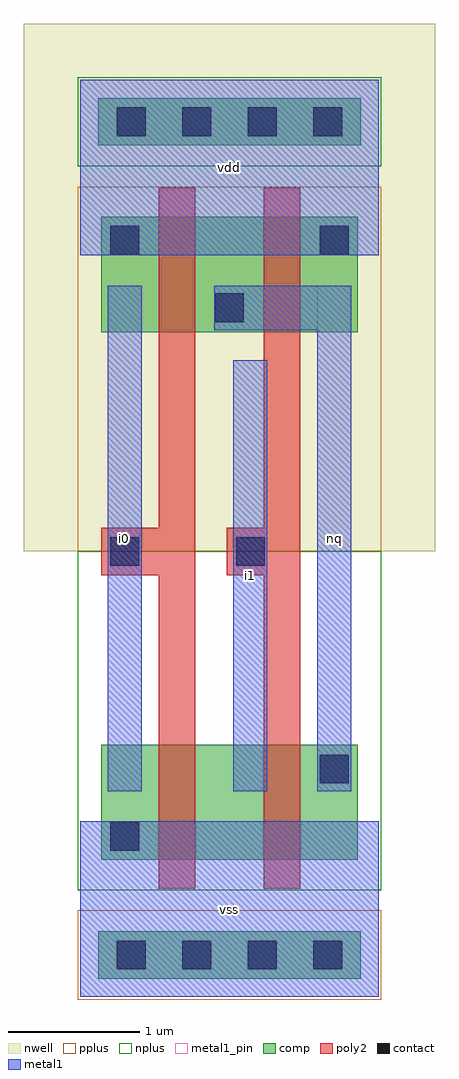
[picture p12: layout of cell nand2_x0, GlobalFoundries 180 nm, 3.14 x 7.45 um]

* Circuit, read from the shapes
.subckt nand2_x0 i0 i1 nq vdd vss
XM1 n1 i0 vss vss nfet_03v3 w=0.88u l=0.28u
XM2 nq i1 n1 vss nfet_03v3 w=0.88u l=0.28u
XM3 nq i0 vdd vdd pfet_03v3 w=0.88u l=0.28u
XM4 vdd i1 nq vdd pfet_03v3 w=0.88u l=0.28u
.ends

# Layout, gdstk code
import gdstk
lib = gdstk.Library(unit=1e-6, precision=1e-09)
def R(c, l, rs):  # rectangles x0, y0, x1, y1
    for r in rs: c.add(gdstk.rectangle(r[:2], r[2:], *l))
def A(c, l, x, y, w, h, nx, ny, dx, dy):  # array of equal rectangles
    R(c, l, [(x+i*dx, y+j*dy, x+i*dx+w, y+j*dy+h) for i in range(nx) for j in range(ny)])
def P(c, l, *ps):  # polygons
    for p in ps: c.add(gdstk.Polygon(p, *l))
nwell = (21, 0)
comp = (22, 0)
poly2 = (30, 0)
pplus = (31, 0)
nplus = (32, 0)
contact = (33, 0)
metal1 = (34, 0)
metal1_pin = (34, 10)

nand2_x0 = lib.new_cell('nand2_x0')
R(nand2_x0, nwell, [(-0.43,3.4,2.71,7.43)])
R(nand2_x0, comp, [(0.14,0.14,2.14,0.5), (0.16,1.045,2.12,1.925), (0.16,5.075,2.12,5.955), (0.14,6.5,2.14,6.86)])
P(nand2_x0, poly2, [(0.6,0.825),(0.6,3.22),(0.16,3.22),(0.16,3.58),(0.6,3.58),(0.6,6.175),(0.88,6.175),(0.88,0.825)],
  [(1.4,0.825),(1.4,3.22),(1.12,3.22),(1.12,3.58),(1.4,3.58),(1.4,6.175),(1.68,6.175),(1.68,0.825)])
R(nand2_x0, pplus, [(-0.02,-0.02,2.3,0.66), (-0.02,3.4,2.3,6.185)])
R(nand2_x0, nplus, [(-0.02,0.815,2.3,3.4), (-0.02,6.34,2.3,7.02)])
A(nand2_x0, contact, 0.28, 0.21, 0.22, 0.22, 4, 2, 0.5, 6.36)
R(nand2_x0, contact, [(0.23,1.115,0.45,1.335), (1.83,1.63,2.05,1.85), (0.23,3.29,0.45,3.51), (1.19,3.29,1.41,3.51), (1.03,5.15,1.25,5.37), (0.23,5.665,0.45,5.885), (1.83,5.665,2.05,5.885)])
R(nand2_x0, metal1, [(0,0,2.28,1.34), (0.21,1.57,0.47,5.43), (1.17,1.57,1.43,4.86), (0,5.66,2.28,7)])
P(nand2_x0, metal1, [(1.81,1.57),(1.81,5.09),(1.025,5.09),(1.025,5.43),(2.07,5.43),(2.07,1.57)])
R(nand2_x0, metal1_pin, [(0,0,2.28,1.34), (0.21,1.57,0.47,5.43), (1.17,1.57,1.43,4.86), (1.81,1.57,2.07,5.43), (0,5.66,2.28,7)])
nand2_x0.add(gdstk.Label('vss', (1.14,0.67), layer=34, texttype=10))
nand2_x0.add(gdstk.Label('vdd', (1.14,6.33), layer=34, texttype=10))
nand2_x0.add(gdstk.Label('i0', (0.34,3.5), layer=34, texttype=10))
nand2_x0.add(gdstk.Label('nq', (1.94,3.5), layer=34, texttype=10))
nand2_x0.add(gdstk.Label('i1', (1.3,3.215), layer=34, texttype=10))

lib.write_gds('nand2_x0.gds')
